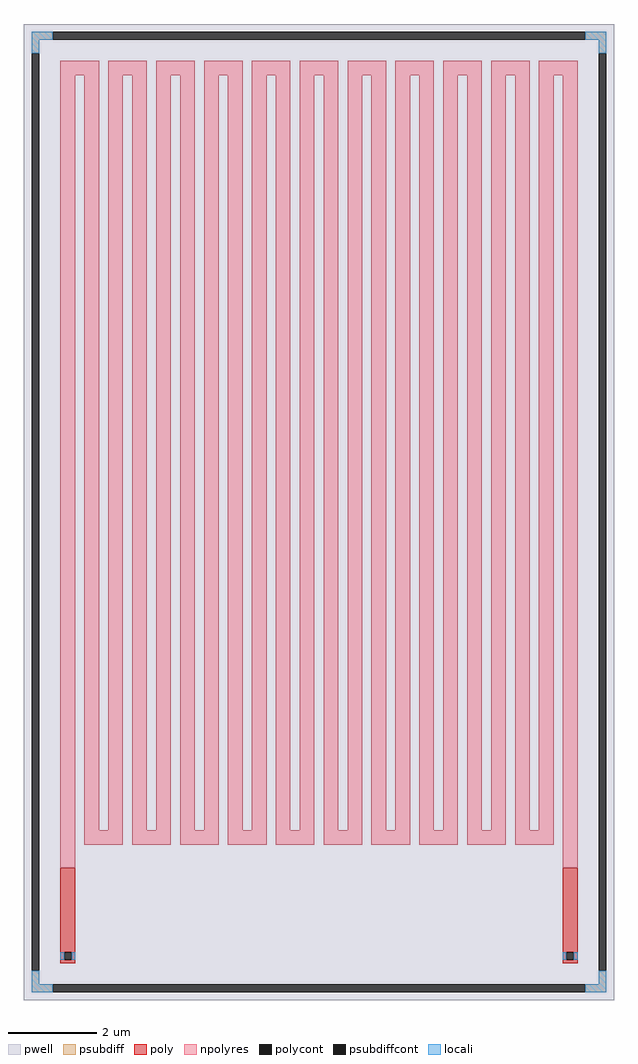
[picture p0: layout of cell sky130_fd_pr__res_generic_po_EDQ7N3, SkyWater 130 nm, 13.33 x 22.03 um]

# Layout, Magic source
magic
tech sky130B
magscale 1 2
<< pwell >>
rect -1333 -2203 1333 2203
<< psubdiff >>
rect -1297 2133 -1201 2167
rect 1201 2133 1297 2167
rect -1297 2071 -1263 2133
rect 1263 2071 1297 2133
rect -1297 -2133 -1263 -2071
rect 1263 -2133 1297 -2071
rect -1297 -2167 -1201 -2133
rect 1201 -2167 1297 -2133
<< psubdiffcont >>
rect -1201 2133 1201 2167
rect -1297 -2071 -1263 2071
rect 1263 -2071 1297 2071
rect -1201 -2167 1201 -2133
<< poly >>
rect -1167 -1987 -1101 -1607
rect -1167 -2021 -1151 -1987
rect -1117 -2021 -1101 -1987
rect -1167 -2037 -1101 -2021
rect 1101 -1987 1167 -1607
rect 1101 -2021 1117 -1987
rect 1151 -2021 1167 -1987
rect 1101 -2037 1167 -2021
<< polycont >>
rect -1151 -2021 -1117 -1987
rect 1117 -2021 1151 -1987
<< npolyres >>
rect -1167 1971 -993 2037
rect -1167 -1607 -1101 1971
rect -1059 -1437 -993 1971
rect -951 1971 -777 2037
rect -951 -1437 -885 1971
rect -1059 -1503 -885 -1437
rect -843 -1437 -777 1971
rect -735 1971 -561 2037
rect -735 -1437 -669 1971
rect -843 -1503 -669 -1437
rect -627 -1437 -561 1971
rect -519 1971 -345 2037
rect -519 -1437 -453 1971
rect -627 -1503 -453 -1437
rect -411 -1437 -345 1971
rect -303 1971 -129 2037
rect -303 -1437 -237 1971
rect -411 -1503 -237 -1437
rect -195 -1437 -129 1971
rect -87 1971 87 2037
rect -87 -1437 -21 1971
rect -195 -1503 -21 -1437
rect 21 -1437 87 1971
rect 129 1971 303 2037
rect 129 -1437 195 1971
rect 21 -1503 195 -1437
rect 237 -1437 303 1971
rect 345 1971 519 2037
rect 345 -1437 411 1971
rect 237 -1503 411 -1437
rect 453 -1437 519 1971
rect 561 1971 735 2037
rect 561 -1437 627 1971
rect 453 -1503 627 -1437
rect 669 -1437 735 1971
rect 777 1971 951 2037
rect 777 -1437 843 1971
rect 669 -1503 843 -1437
rect 885 -1437 951 1971
rect 993 1971 1167 2037
rect 993 -1437 1059 1971
rect 885 -1503 1059 -1437
rect 1101 -1607 1167 1971
<< locali >>
rect -1297 2133 -1201 2167
rect 1201 2133 1297 2167
rect -1297 2071 -1263 2133
rect 1263 2071 1297 2133
rect -1167 -2021 -1151 -1987
rect -1117 -2021 -1101 -1987
rect 1101 -2021 1117 -1987
rect 1151 -2021 1167 -1987
rect -1297 -2133 -1263 -2071
rect 1263 -2133 1297 -2071
rect -1297 -2167 -1201 -2133
rect 1201 -2167 1297 -2133
<< properties >>
string FIXED_BBOX -1280 -2150 1280 2150
string gencell sky130_fd_pr__res_generic_po
string library sky130
string parameters w 0.33 l 17.7 m 1 nx 22 wmin 0.330 lmin 1.650 rho 48.2 val 59.115k dummy 0 dw 0.0 term 0.0 sterm 0.0 caplen 0.4 snake 1 guard 1 glc 1 grc 1 gtc 1 gbc 1 roverlap 0 endcov 100 full_metal 1 hv_guard 0 n_guard 0 vias 1 viagb 0 viagt 0 viagl 0 viagr 0
<< end >>
